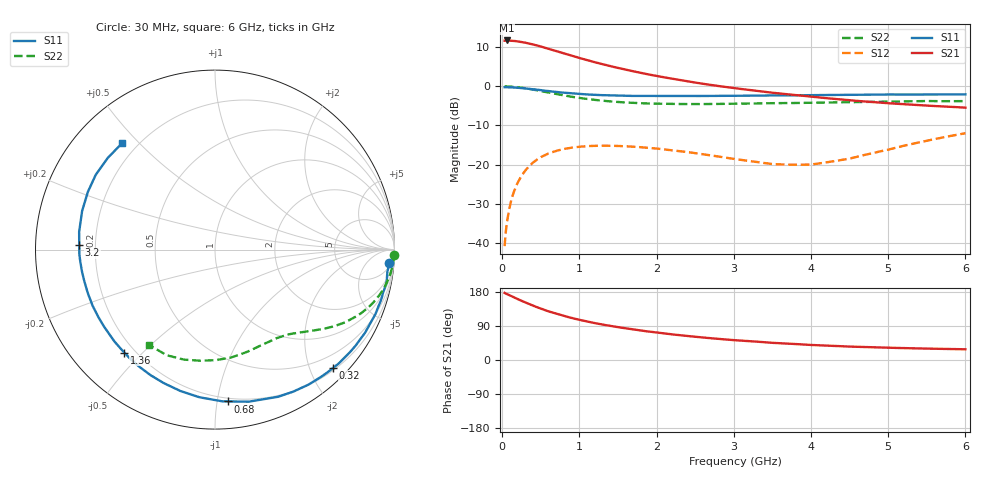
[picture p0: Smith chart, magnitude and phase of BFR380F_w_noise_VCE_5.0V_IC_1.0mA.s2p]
! Infineon Technologies  Discrete & RF Semiconductors
! BFR380F
! VCE =  5.0 V,  IC =  1.0 mA
! Common Emitter S-Parameters:  Nov 2015
# GHz  S  MA  R  50
!  f  S11  S21  S12  S22
! GHz  MAG  ANG  MAG  ANG  MAG  ANG  MAG  ANG
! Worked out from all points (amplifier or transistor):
!   206 points, 30 MHz to 6 GHz, reference 50 ohm
!   highest |S21| = 11.7 dB at 55 MHz (marker M1)
!   |S21| within 3 dB of that: start of sweep to 748.1 MHz
!   unconditionally stable (mu >= 1): 3.091 GHz to 5.041 GHz
!   at 200 MHz: K = 0.05, MSG = 18.0 dB, |S12| = -24.6 dB
!   at 1.56 GHz: K = 0.44, MSG = 9.8 dB, |S12| = -15.3 dB
!   at 6 GHz: K = 0.92, MSG = 3.3 dB, |S12| = -12.0 dB
!   lowest NFmin = 0.89 dB at 450 MHz
!   S11 on the Smith chart (normalised r, x): 30 MHz: 8, -23; 320 MHz: 0.24, -2.39; 680 MHz: 0.18, -1.07; 1.36 GHz: 0.16, -0.44; 3.2 GHz: 0.14, +0.02; 6 GHz: 0.14, +0.44
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0.03  0.9721 -4.4  3.813 177.1  0.0091 87.4  0.9971 -1.8
0.055  0.9692 -8.1  3.837 174.4  0.0167 85.3  0.9961 -3.2
0.09  0.9688 -13.2  3.817 171.2  0.0272 82.6  0.9931 -5.3
0.15  0.9633 -21.9  3.789 165.5  0.0448 77.5  0.9833 -8.8
0.2  0.9558 -28.9  3.733 160.7  0.0588 73.4  0.9716 -11.6
0.32  0.9313 -45.1  3.552 150.1  0.0889 64.1  0.9347 -17.8
0.4  0.9153 -55.2  3.409 143.3  0.1063 58.6  0.9053 -21.5
0.48  0.8954 -64.6  3.251 137.0  0.121 53.4  0.875 -24.8
0.6  0.868 -77.5  3.005 128.3  0.139 46.4  0.8305 -29.2
0.68  0.8487 -85.2  2.845 123.3  0.1478 42.3  0.8012 -31.7
0.9  0.8111 -103.7  2.448 110.8  0.1647 32.8  0.7332 -37.4
1.04  0.7915 -113.4  2.235 104.2  0.1702 28.0  0.7 -40.3
1.2  0.7766 -123.2  2.023 97.3  0.1738 23.5  0.6689 -43.4
1.36  0.7644 -131.3  1.845 91.4  0.174 19.6  0.6452 -46.2
1.62  0.7536 -142.6  1.609 82.8  0.1709 14.9  0.6181 -50.5
2.02  0.7498 -155.9  1.34 72.0  0.1594 10.2  0.5985 -56.9
2.6  0.7511 -170.4  1.073 59.2  0.1356 9.0  0.5919 -66.5
3.1  0.7562 180.0  0.921 51.1  0.1145 14.8  0.5987 -74.9
3.2  0.7568 178.1  0.896 49.8  0.111 17.0  0.6002 -76.5
4.1  0.7711 162.2  0.719 38.9  0.1033 46.9  0.6163 -90.8
5.1  0.7834 146.2  0.599 31.9  0.1643 70.0  0.6376 -107.5
6  0.787 131.3  0.533 28.3  0.2512 71.0  0.6464 -124.6
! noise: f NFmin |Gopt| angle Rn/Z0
0.45  0.89  0.66  41  0.41
0.9  1.11  0.61  80  0.32
1.8  1.88  0.61  134  0.2
1.9  2.18  0.63  138  0.19
2.4  2.61  0.63  155  0.14
3.5  3.96  0.62  -172  0.16
